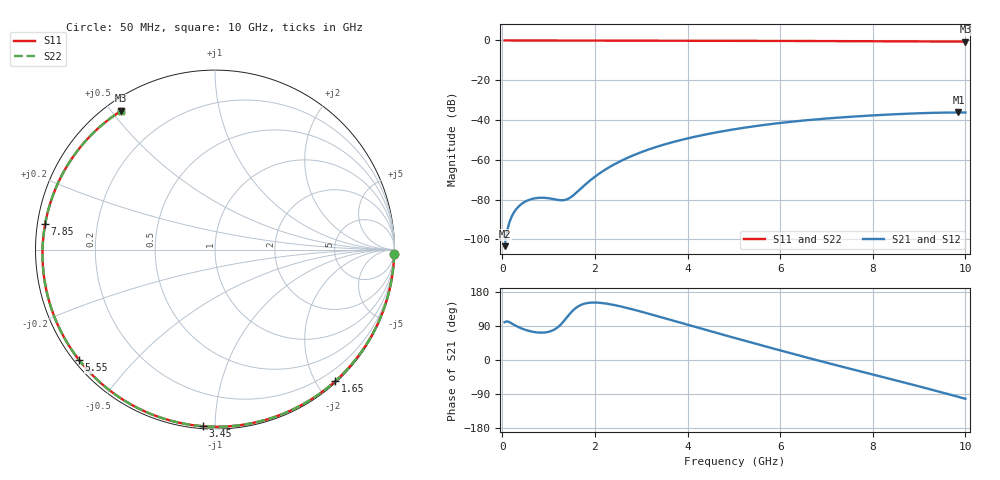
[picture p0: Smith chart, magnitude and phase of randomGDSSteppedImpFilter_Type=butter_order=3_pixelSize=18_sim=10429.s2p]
! freq	dB(S11)	phase(S11)	dB(S12)	phase(S12)
!  dB(S21)	phase(S21)	dB(S22)	phase(S22)
!S-par simulation data
#  GHz  S  DB  R 50
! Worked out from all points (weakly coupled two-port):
!   200 points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, 50 MHz to 10 GHz, reference 50 ohm
!   highest |S21| = -36.22 dB at 9.85 GHz (marker M1); lowest = -103.4 dB at 50 MHz (marker M2)
!   lowest |S11| = -0.6 dB at 10 GHz (marker M3), VSWR 28.95, Z = 2.21 + j26.5 ohm
!   |S11| at or under -10 dB: nowhere
!   |S22| runs from -0.6 to 0.0 dB; largest |S21 - S12| = 0
!   S11 on the Smith chart (normalised r, x): 50 MHz: 2, -81; 1.65 GHz: 0.02, -2.27; 3.45 GHz: 0.01, -0.93; 5.55 GHz: 0.01, -0.36; 7.85 GHz: 0.02, +0.07; 10 GHz: 0.04, +0.53
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0.05  -0.01 -1.4  -103.44 99.8  -103.44 99.8  -0.01 -1.4
0.6  -0.02 -17.6  -79.98 76.0  -79.98 76.0  -0.02 -17.6
0.7  -0.03 -20.5  -79.39 73.6  -79.39 73.6  -0.03 -20.5
0.9  -0.03 -26.3  -79.11 72.5  -79.11 72.5  -0.03 -26.3
1.35  -0.05 -39.1  -80.21 105.7  -80.21 105.7  -0.05 -39.2
1.45  -0.05 -42.0  -79.27 120.7  -79.27 120.7  -0.05 -42.0
1.65  -0.06 -47.5  -75.47 142.4  -75.47 142.4  -0.06 -47.5
1.75  -0.06 -50.3  -73.34 147.7  -73.34 147.7  -0.06 -50.3
2.1  -0.08 -59.7  -66.84 151.0  -66.84 151.0  -0.08 -59.8
2.45  -0.09 -69.0  -61.91 144.2  -61.91 144.2  -0.09 -69.0
2.9  -0.10 -80.5  -57.08 130.8  -57.08 130.8  -0.10 -80.5
3.4  -0.12 -92.8  -53.00 113.9  -53.00 113.9  -0.12 -92.8
3.45  -0.12 -94.0  -52.65 112.2  -52.65 112.2  -0.12 -94.0
4.2  -0.15 -111.5  -48.21 86.1  -48.21 86.1  -0.15 -111.5
5.05  -0.19 -130.3  -44.51 57.1  -44.51 57.1  -0.19 -130.3
5.55  -0.21 -140.9  -42.80 40.3  -42.80 40.3  -0.21 -140.9
6.7  -0.29 -164.7  -39.84 2.5  -39.84 2.5  -0.29 -164.8
7.85  -0.38 171.5  -37.89 -33.7  -37.89 -33.7  -0.38 171.5
8.35  -0.43 160.9  -37.25 -49.1  -37.25 -49.1  -0.43 160.9
9.1  -0.50 144.6  -36.53 -72.8  -36.53 -72.8  -0.50 144.6
9.85  -0.58 127.5  -36.22 -97.3  -36.22 -97.3  -0.58 127.5
10  -0.60 124.0  -36.24 -102.3  -36.24 -102.3  -0.60 124.0
